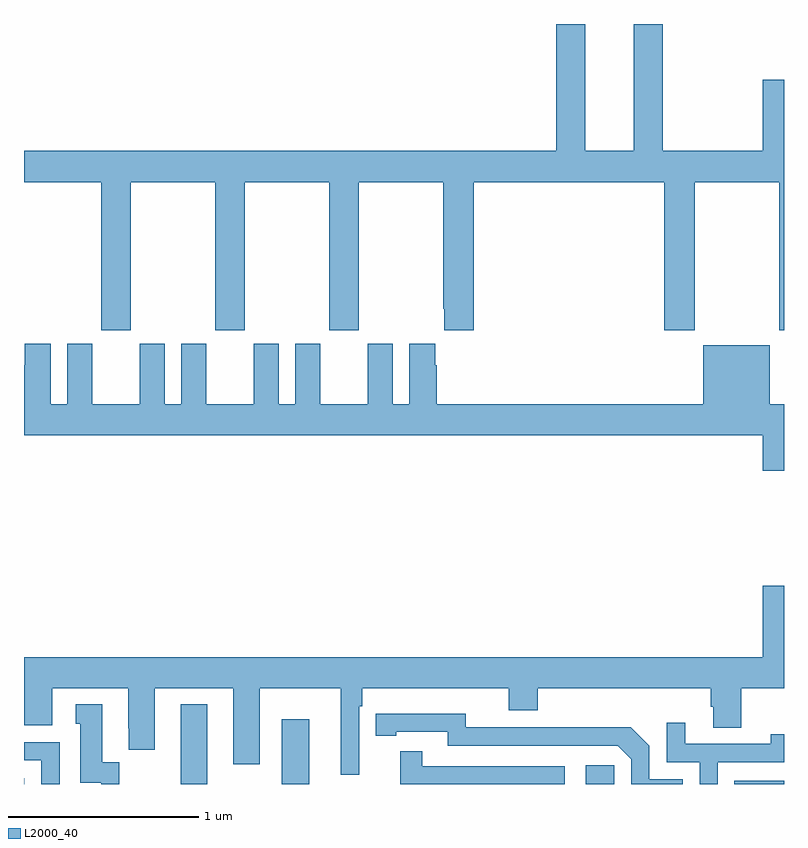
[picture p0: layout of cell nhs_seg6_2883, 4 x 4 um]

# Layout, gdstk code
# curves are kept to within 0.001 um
import gdstk
lib = gdstk.Library(unit=1e-6, precision=1e-09)
def R(c, l, rs):  # rectangles x0, y0, x1, y1
    for r in rs: c.add(gdstk.rectangle(r[:2], r[2:], *l))
def P(c, l, *ps):  # polygons
    for p in ps: c.add(gdstk.Polygon(p, *l))
L2000_40 = (2000, 40)

nhs_seg6_2883 = lib.new_cell('nhs_seg6_2883')
R(nhs_seg6_2883, L2000_40, [(281,945.5,281.002,945.531), (281.825,945.5,281.965,945.919), (282.356,945.5,282.502,945.841), (283.956,945.5,284.106,945.598), (284.737,945.5,285,945.516)])
P(nhs_seg6_2883, L2000_40, [(284.369,947.889),(284.529,947.889),(284.529,948.668),(284.974,948.668),(284.974,947.889),(285,947.889),(285,949.207),(284.888,949.207),(284.888,948.832),(284.363,948.832),(284.363,949.5),(284.21,949.5),(284.21,948.832),(283.954,948.832),(283.954,949.5),(283.802,949.5),(283.802,948.832),(281,948.832),(281,948.668),(281.407,948.668),(281.407,947.889),(281.562,947.889),(281.562,948.668),(282.007,948.668),(282.007,947.889),(282.162,947.889),(282.162,948.668),(282.607,948.668),(282.607,947.889),(282.762,947.889),(282.762,948.668),(283.207,948.668),(283.207,948.001),(283.211,948.001),(283.211,947.889),(283.367,947.889),(283.367,948.668),(284.369,948.668)],
  [(285,947.5),(284.926,947.5),(284.926,947.809),(284.576,947.809),(284.576,947.5),(283.172,947.5),(283.172,947.705),(283.165,947.705),(283.165,947.818),(283.028,947.818),(283.028,947.5),(282.94,947.5),(282.94,947.818),(282.809,947.818),(282.809,947.5),(282.559,947.5),(282.559,947.818),(282.428,947.818),(282.428,947.5),(282.34,947.5),(282.34,947.818),(282.209,947.818),(282.209,947.5),(281.959,947.5),(281.959,947.818),(281.828,947.818),(281.828,947.5),(281.74,947.5),(281.74,947.818),(281.609,947.818),(281.609,947.5),(281.359,947.5),(281.359,947.818),(281.228,947.818),(281.228,947.5),(281.14,947.5),(281.14,947.818),(281.003,947.818),(281.003,947.705),(281,947.705),(281,947.336),(284.888,947.336),(284.888,947.148),(285,947.148)],
  [(282.765,945.908),(282.779,945.908),(282.779,946.004),(283.55,946.004),(283.55,945.887),(283.703,945.887),(283.703,946.004),(284.615,946.004),(284.615,945.906),(284.627,945.906),(284.627,945.796),(284.775,945.796),(284.775,946.004),(285,946.004),(285,946.543),(284.888,946.543),(284.888,946.168),(281,946.168),(281,945.81),(281.149,945.81),(281.149,946.004),(281.549,946.004),(281.549,945.793),(281.55,945.793),(281.55,945.681),(281.689,945.681),(281.689,946.004),(282.101,946.004),(282.101,945.603),(282.241,945.603),(282.241,946.004),(282.668,946.004),(282.668,945.549),(282.765,945.549)],
  [(281.502,945.615),(281.413,945.615),(281.413,945.919),(281.273,945.919),(281.273,945.816),(281.297,945.816),(281.297,945.507),(281.406,945.507),(281.406,945.5),(281.502,945.5)],
  [(284.466,945.525),(284.292,945.525),(284.292,945.702),(284.194,945.8),(283.786,945.8),(283.786,945.798),(283.326,945.798),(283.326,945.871),(282.85,945.87),(282.85,945.754),(282.958,945.754),(282.958,945.774),(283.23,945.774),(283.23,945.702),(284.124,945.702),(284.196,945.63),(284.196,945.5),(284.466,945.5)],
  [(284.652,945.615),(285,945.615),(285,945.763),(284.93,945.763),(284.93,945.711),(284.479,945.711),(284.479,945.823),(284.382,945.823),(284.382,945.615),(284.556,945.615),(284.556,945.5),(284.652,945.5)],
  [(281.187,945.72),(281,945.72),(281,945.624),(281.091,945.624),(281.091,945.5),(281.187,945.5)],
  [(283.846,945.594),(283.097,945.594),(283.097,945.673),(282.98,945.673),(282.98,945.5),(283.846,945.5)])

lib.write_gds('nhs_seg6_2883.gds')
